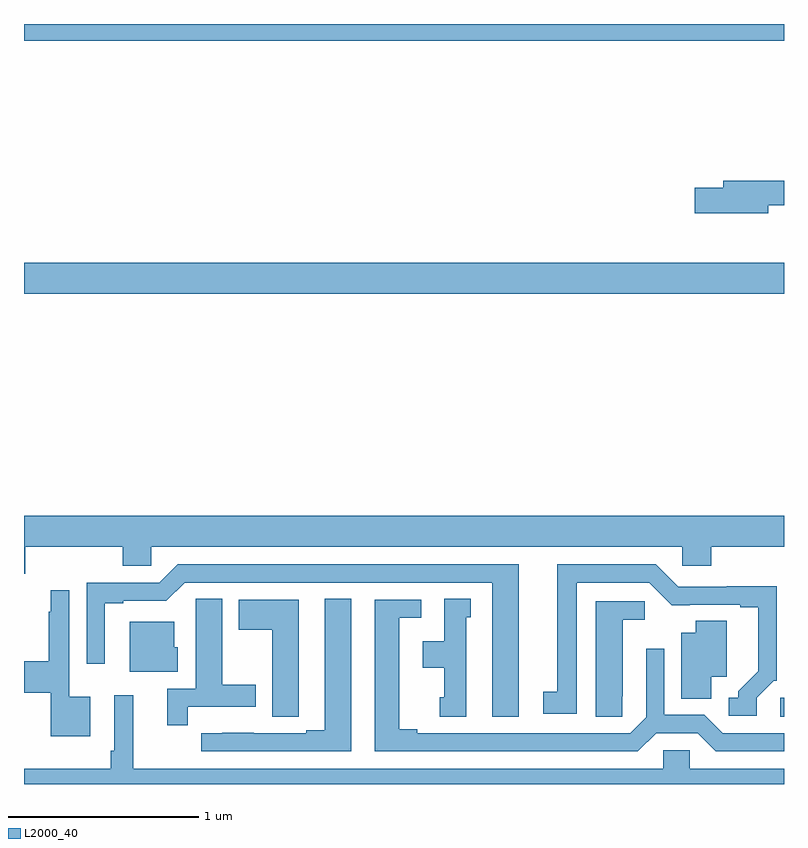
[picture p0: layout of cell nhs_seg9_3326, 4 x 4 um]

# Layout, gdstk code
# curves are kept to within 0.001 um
import gdstk
lib = gdstk.Library(unit=1e-6, precision=1e-09)
def R(c, l, rs):  # rectangles x0, y0, x1, y1
    for r in rs: c.add(gdstk.rectangle(r[:2], r[2:], *l))
def P(c, l, *ps):  # polygons
    for p in ps: c.add(gdstk.Polygon(p, *l))
L2000_40 = (2000, 40)

nhs_seg9_3326 = lib.new_cell('nhs_seg9_3326')
R(nhs_seg9_3326, L2000_40, [(304.98,1200.853,305,1200.954), (301,1203.08,305,1203.244), (301,1204.412,305,1204.5)])
P(nhs_seg9_3326, L2000_40, [(304.918,1203.546),(305,1203.546),(305,1203.674),(304.679,1203.674),(304.679,1203.638),(304.53,1203.638),(304.53,1203.503),(304.918,1203.503)],
  [(301.007,1201.748),(301.52,1201.748),(301.52,1201.65),(301.671,1201.65),(301.671,1201.748),(304.464,1201.748),(304.464,1201.65),(304.616,1201.65),(304.616,1201.748),(305,1201.748),(305,1201.912),(301,1201.912),(301,1201.606),(301.007,1201.606)],
  [(304.857,1200.954),(304.947,1201.044),(304.962,1201.044),(304.962,1201.541),(304.699,1201.541),(304.699,1201.539),(304.443,1201.539),(304.326,1201.656),(303.806,1201.656),(303.806,1200.986),(303.732,1200.986),(303.732,1200.87),(303.91,1200.87),(303.91,1201.56),(304.29,1201.56),(304.408,1201.442),(304.769,1201.443),(304.769,1201.431),(304.865,1201.431),(304.865,1201.094),(304.76,1200.989),(304.76,1200.954),(304.71,1200.954),(304.71,1200.858),(304.857,1200.858)],
  [(303.604,1201.656),(301.809,1201.656),(301.713,1201.56),(301.329,1201.56),(301.329,1201.134),(301.426,1201.134),(301.426,1201.452),(301.522,1201.452),(301.522,1201.464),(301.749,1201.464),(301.845,1201.56),(303.464,1201.56),(303.464,1200.855),(303.604,1200.855)],
  [(301.348,1200.958),(301.239,1200.958),(301.239,1201.519),(301.142,1201.519),(301.142,1201.406),(301.131,1201.406),(301.131,1201.146),(301,1201.146),(301,1200.98),(301.142,1200.98),(301.142,1200.752),(301.348,1200.752)],
  [(301.862,1200.906),(302.221,1200.906),(302.221,1201.023),(302.044,1201.023),(302.044,1201.475),(301.905,1201.475),(301.905,1201.364),(301.904,1201.364),(301.904,1201.002),(301.754,1201.002),(301.754,1200.81),(301.862,1200.81)],
  [(302.722,1201.475),(302.582,1201.475),(302.582,1200.783),(302.486,1200.783),(302.486,1200.768),(302.21,1200.768),(302.21,1200.769),(302.044,1200.769),(302.044,1200.768),(301.932,1200.768),(301.932,1200.672),(302.722,1200.672)],
  [(303.328,1201.377),(303.352,1201.377),(303.352,1201.475),(303.212,1201.475),(303.212,1201.252),(303.098,1201.252),(303.098,1201.112),(303.212,1201.112),(303.212,1200.957),(303.188,1200.957),(303.188,1200.855),(303.328,1200.855)],
  [(302.445,1200.961),(302.446,1200.961),(302.446,1201.471),(302.129,1201.471),(302.129,1201.312),(302.306,1201.312),(302.306,1200.853),(302.445,1200.853)],
  [(304.327,1200.768),(304.545,1200.768),(304.641,1200.672),(305,1200.672),(305,1200.768),(304.677,1200.768),(304.581,1200.864),(304.371,1200.864),(304.371,1201.213),(304.275,1201.213),(304.275,1200.852),(304.191,1200.768),(303.07,1200.768),(303.07,1200.788),(302.974,1200.788),(302.974,1201.374),(303.091,1201.374),(303.091,1201.47),(302.846,1201.47),(302.846,1200.672),(304.231,1200.672)],
  [(304.149,1200.961),(304.15,1200.961),(304.15,1201.364),(304.267,1201.364),(304.267,1201.461),(304.01,1201.461),(304.01,1200.853),(304.149,1200.853)],
  [(304.618,1201.064),(304.699,1201.064),(304.699,1201.358),(304.535,1201.358),(304.535,1201.297),(304.46,1201.297),(304.46,1200.949),(304.618,1200.949)],
  [(301.81,1201.221),(301.792,1201.221),(301.792,1201.354),(301.556,1201.354),(301.556,1201.091),(301.81,1201.091)],
  [(305,1200.58),(304.503,1200.58),(304.503,1200.678),(304.365,1200.678),(304.365,1200.58),(301.574,1200.58),(301.574,1200.967),(301.476,1200.967),(301.476,1200.676),(301.456,1200.676),(301.456,1200.58),(301,1200.58),(301,1200.5),(305,1200.5)])

lib.write_gds('nhs_seg9_3326.gds')
